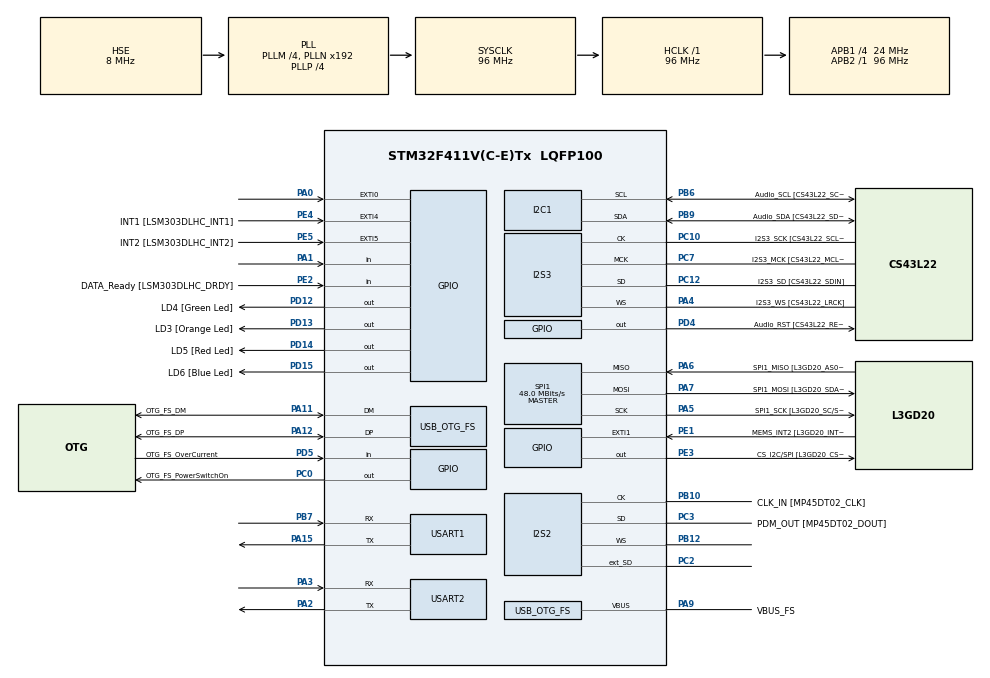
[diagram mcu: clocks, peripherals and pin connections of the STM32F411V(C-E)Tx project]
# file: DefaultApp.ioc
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FREERTOS.Tasks01=sensorTask,0,128,StartSensorTask,Default,NULL,Dynamic,NULL,NULL;CLITask,1,128,StartCLITask,Default,NULL,Dynamic,NULL,NULL;loggerTask,-1,128,StartLoggerTask,Default,NULL,Dynamic,NULL,NULL
FREERTOS.configUSE_NEWLIB_REENTRANT=1
I2S2.AudioFreq=I2S_AUDIOFREQ_96K
I2S2.ErrorAudioFreq=0.15 %
I2S2.FullDuplexMode=I2S_FULLDUPLEXMODE_ENABLE
I2S2.Instance=SPI$Index
I2S2.RealAudioFreq=96.153 KHz
I2S2.VirtualMode=I2S_MODE_MASTER
I2S3.AudioFreq=I2S_AUDIOFREQ_96K
I2S3.ErrorAudioFreq=-6.99 %
I2S3.FullDuplexMode=I2S_FULLDUPLEXMODE_DISABLE
I2S3.Instance=SPI$Index
I2S3.RealAudioFreq=89.285 KHz
I2S3.VirtualMode=I2S_MODE_MASTER
Mcu.Family=STM32F4
Mcu.Name=STM32F411V(C-E)Tx
Mcu.Package=LQFP100
NVIC.OTG_FS_IRQn=true\:5\:0\:false\:false\:true\:true\:true\:true\:true
NVIC.PriorityGroup=NVIC_PRIORITYGROUP_4
NVIC.TIM1_UP_TIM10_IRQn=true\:15\:0\:false\:false\:true\:false\:false\:true\:true
NVIC.TimeBase=TIM1_UP_TIM10_IRQn
NVIC.TimeBaseIP=TIM1
PA0-WKUP.GPIO_ModeDefaultEXTI=GPIO_MODE_EVT_RISING
PA0-WKUP.Signal=GPXTI0
PA1.Signal=GPIO_Input
PA10.GPIO_Label=OTG_FS_ID
PA10.Signal=USB_OTG_FS_ID
PA11.GPIO_Label=OTG_FS_DM
PA11.Mode=Host_Only
PA11.Signal=USB_OTG_FS_DM
PA12.GPIO_Label=OTG_FS_DP
PA12.Mode=Host_Only
PA12.Signal=USB_OTG_FS_DP
PA13.GPIO_Label=SWDIO
PA13.Mode=Serial_Wire
PA13.Signal=SYS_JTMS-SWDIO
PA14.GPIO_Label=SWCLK
PA14.Mode=Serial_Wire
PA14.Signal=SYS_JTCK-SWCLK
PA15.Mode=Asynchronous
PA15.Signal=USART1_TX
PA2.Mode=Asynchronous
PA2.Signal=USART2_TX
PA3.Mode=Asynchronous
PA3.Signal=USART2_RX
PA4.GPIO_Label=I2S3_WS [CS43L22_LRCK]
PA4.GPIO_Mode=GPIO_MODE_AF_PP
PA4.GPIO_PuPd=GPIO_NOPULL
PA4.GPIO_Speed=GPIO_SPEED_FREQ_LOW
PA4.Mode=Half_Duplex_Master
PA4.Signal=I2S3_WS
PA5.GPIO_Label=SPI1_SCK [L3GD20_SC/SPC]
PA5.Mode=Full_Duplex_Master
PA5.Signal=SPI1_SCK
PA6.GPIO_Label=SPI1_MISO [L3GD20_AS0/SDO]
PA6.Mode=Full_Duplex_Master
PA6.Signal=SPI1_MISO
PA7.GPIO_Label=SPI1_MOSI [L3GD20_SDA/SDI/SDO]
PA7.Mode=Full_Duplex_Master
PA7.Signal=SPI1_MOSI
PA9.GPIO_Label=VBUS_FS
PA9.Mode=Activate_VBUS
PA9.Signal=USB_OTG_FS_VBUS
PB10.GPIO_Label=CLK_IN [MP45DT02_CLK]
PB10.Mode=Full_Duplex_Master
PB10.Signal=I2S2_CK
PB12.Mode=Full_Duplex_Master
PB12.Signal=I2S2_WS
PB3.GPIO_Label=SWO
PB3.Signal=SYS_JTDO-SWO
PB6.GPIO_Label=Audio_SCL [CS43L22_SCL]
PB6.GPIO_Mode=GPIO_MODE_AF_OD
PB6.GPIO_Pu=GPIO_PULLUP
PB6.GPIO_PuPd=GPIO_NOPULL
PB6.GPIO_Speed=GPIO_SPEED_FREQ_LOW
PB6.Mode=I2C
PB6.Signal=I2C1_SCL
PB7.Mode=Asynchronous
PB7.Signal=USART1_RX
PB9.GPIO_Label=Audio_SDA [CS43L22_SDA]
PB9.GPIO_Mode=GPIO_MODE_AF_OD
PB9.GPIO_Pu=GPIO_PULLUP
PB9.GPIO_PuPd=GPIO_NOPULL
PB9.GPIO_Speed=GPIO_SPEED_FREQ_LOW
PB9.Mode=I2C
PB9.Signal=I2C1_SDA
PC0.GPIO_Label=OTG_FS_PowerSwitchOn
PC0.PinState=GPIO_PIN_SET
PC0.Signal=GPIO_Output
PC10.GPIO_Label=I2S3_SCK [CS43L22_SCLK]
PC10.GPIO_Mode=GPIO_MODE_AF_PP
PC10.GPIO_PuPd=GPIO_NOPULL
PC10.GPIO_Speed=GPIO_SPEED_FREQ_LOW
PC10.Mode=Half_Duplex_Master
PC10.Signal=I2S3_CK
PC12.GPIO_Label=I2S3_SD [CS43L22_SDIN]
PC12.GPIO_Mode=GPIO_MODE_AF_PP
PC12.GPIO_PuPd=GPIO_NOPULL
PC12.GPIO_Speed=GPIO_SPEED_FREQ_LOW
PC12.Mode=Half_Duplex_Master
PC12.Signal=I2S3_SD
PC14-OSC32_IN.GPIO_Label=PC14-OSC32_IN
PC14-OSC32_IN.Mode=LSE-External-Oscillator
PC14-OSC32_IN.Signal=RCC_OSC32_IN
PC15-OSC32_OUT.GPIO_Label=PC15-OSC32_OUT
PC15-OSC32_OUT.Mode=LSE-External-Oscillator
PC15-OSC32_OUT.Signal=RCC_OSC32_OUT
PC2.Mode=Full_Duplex_Master
PC2.Signal=I2S2_ext_SD
PC3.GPIO_Label=PDM_OUT [MP45DT02_DOUT]
PC3.Mode=Full_Duplex_Master
PC3.Signal=I2S2_SD
PC7.GPIO_Label=I2S3_MCK [CS43L22_MCLK]
PC7.GPIO_Mode=GPIO_MODE_AF_PP
PC7.GPIO_PuPd=GPIO_NOPULL
PC7.GPIO_Speed=GPIO_SPEED_FREQ_LOW
PC7.Mode=Master_Clock_Activated
PC7.Signal=I2S3_MCK
PD12.GPIO_Label=LD4 [Green Led]
PD12.GPIO_PuPd=GPIO_NOPULL
PD12.GPIO_Speed=GPIO_SPEED_FREQ_LOW
PD12.Signal=GPIO_Output
PD13.GPIO_Label=LD3 [Orange Led]
PD13.GPIO_PuPd=GPIO_NOPULL
PD13.GPIO_Speed=GPIO_SPEED_FREQ_LOW
PD13.Signal=GPIO_Output
PD14.GPIO_Label=LD5 [Red Led]
PD14.GPIO_PuPd=GPIO_NOPULL
PD14.GPIO_Speed=GPIO_SPEED_FREQ_LOW
PD14.Signal=GPIO_Output
PD15.GPIO_Label=LD6 [Blue Led]
PD15.GPIO_PuPd=GPIO_NOPULL
PD15.GPIO_Speed=GPIO_SPEED_FREQ_LOW
PD15.Signal=GPIO_Output
PD4.GPIO_Label=Audio_RST [CS43L22_RESET]
PD4.Signal=GPIO_Output
PD5.GPIO_Label=OTG_FS_OverCurrent
PD5.Signal=GPIO_Input
PE1.GPIO_Label=MEMS_INT2 [L3GD20_INT2]
PE1.GPIO_ModeDefaultEXTI=GPIO_MODE_EVT_RISING
PE1.Signal=GPXTI1
PE2.GPIO_Label=DATA_Ready [LSM303DLHC_DRDY]
PE2.Signal=GPIO_Input
PE3.GPIO_Label=CS_I2C/SPI [L3GD20_CS_I2C/SPI]
PE3.Signal=GPIO_Output
PE4.GPIO_Label=INT1 [LSM303DLHC_INT1]
PE4.GPIO_ModeDefaultEXTI=GPIO_MODE_EVT_RISING
PE4.Signal=GPXTI4
PE5.GPIO_Label=INT2 [LSM303DLHC_INT2]
PE5.GPIO_ModeDefaultEXTI=GPIO_MODE_EVT_RISING
PE5.Signal=GPXTI5
PH0\ -\ OSC_IN.GPIO_Label=PH0-OSC_IN
PH0\ -\ OSC_IN.Mode=HSE-External-Clock-Source
PH0\ -\ OSC_IN.Signal=RCC_OSC_IN
PH1\ -\ OSC_OUT.GPIO_Label=PH1-OSC_OUT
PH1\ -\ OSC_OUT.Mode=HSE-External-Clock-Source
PH1\ -\ OSC_OUT.Signal=RCC_OSC_OUT
ProjectManager.HeapSize=0x200
ProjectManager.StackSize=0x400
ProjectManager.TargetToolchain=STM32CubeIDE
RCC.48MHZClocksFreq_Value=48000000
RCC.AHBFreq_Value=96000000
RCC.APB1CLKDivider=RCC_HCLK_DIV4
RCC.APB1Freq_Value=24000000
RCC.APB1TimFreq_Value=48000000
RCC.APB2Freq_Value=96000000
RCC.APB2TimFreq_Value=96000000
RCC.CortexFreq_Value=96000000
RCC.HCLKFreq_Value=96000000
RCC.HSE_VALUE=8000000
RCC.HSI_VALUE=16000000
RCC.PLLI2SM=5
RCC.PLLI2SN=200
RCC.PLLM=4
RCC.PLLP=RCC_PLLP_DIV4
RCC.PLLQ=8
RCC.SYSCLKFreq_VALUE=96000000
RCC.SYSCLKSource=RCC_SYSCLKSOURCE_PLLCLK
RCC.VCOOutputFreq_Value=384000000
SPI1.BaudRatePrescaler=SPI_BAUDRATEPRESCALER_2
SPI1.CalculateBaudRate=48.0 MBits/s
SPI1.Direction=SPI_DIRECTION_2LINES
SPI1.Mode=SPI_MODE_MASTER
SPI1.VirtualType=VM_MASTER
USART1.VirtualMode=VM_ASYNC
USART2.VirtualMode=VM_ASYNC
USB_HOST.BSP.number=1
USB_HOST.USBH_HandleTypeDef=hUsbHostFS
USB_HOST.USBH_USE_OS-CDC_FS=0
USB_HOST.VirtualModeFS=Cdc
USB_HOST0.BSP.STBoard=false
USB_HOST0.BSP.api=Unknown
USB_HOST0.BSP.instance=PC0
USB_HOST0.BSP.ip=GPIO
USB_HOST0.BSP.mode=Output
USB_HOST0.BSP.name=Drive_VBUS_FS
USB_HOST0.BSP.solution=PC0
USB_OTG_FS.VirtualMode=Host_Only
USB_OTG_FS.phy_itface=HCD_PHY_EMBEDDED
VP_FREERTOS_VS_CMSIS_V1.Mode=CMSIS_V1
VP_SYS_VS_tim1.Mode=TIM1
VP_USB_HOST_VS_USB_HOST_CDC_FS.Mode=CDC_FS
board=STM32F411E-DISCO

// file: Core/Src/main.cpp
/* USER CODE BEGIN Header */
/**
  ******************************************************************************
  * @file           : main.c
  * @brief          : Main program body
  ******************************************************************************
  * @attention
  *
  * Copyright (c) 2025 STMicroelectronics.
  * All rights reserved.
  *
  * This software is licensed under terms that can be found in the LICENSE file
  * in the root directory of this software component.
  * If no LICENSE file comes with this software, it is provided AS-IS.
  *
  ******************************************************************************
  */
/* USER CODE END Header */
#include "main.h"
#include "cmsis_os.h"
#include "usb_host.h"
#include "application.hpp"

I2C_HandleTypeDef hi2c1;

I2S_HandleTypeDef hi2s2;
I2S_HandleTypeDef hi2s3;

SPI_HandleTypeDef hspi1;

UART_HandleTypeDef huart1;
UART_HandleTypeDef huart2;

//osThreadId sensorTaskHandle;
//osThreadId CLITaskHandle;
//osThreadId loggerTaskHandle;
/* USER CODE BEGIN PV */
// Global application instance
std::unique_ptr<Application> app;
/* USER CODE END PV */

void SystemClock_Config(void);
void PeriphCommonClock_Config(void);
static void MX_GPIO_Init(void);
static void MX_I2C1_Init(void);
static void MX_I2S2_Init(void);
static void MX_I2S3_Init(void);
static void MX_SPI1_Init(void);
static void MX_USART2_UART_Init(void);
static void MX_USART1_UART_Init(void);
//void StartSensorTask(void const * argument);
//void StartCLITask(void const * argument);
//void StartLoggerTask(void const * argument);

/* USER CODE BEGIN 0 */
extern "C" void vApplicationStackOverflowHook( osThreadId taskHandle, char *pcTaskName) {
    // Handle stack overflow
    while(1) {
        HAL_GPIO_TogglePin(GPIOC, GPIO_PIN_13); // Toggle LED
        HAL_Delay(100);
    }
}

//process : Allocating Dynamic memory in Freertos failure
extern "C" void vApplicationMallocFailedHook(void) {
    // Handle malloc failure
    while(1) {
        HAL_GPIO_TogglePin(GPIOC, GPIO_PIN_13);
        HAL_Delay(50);
    }
}

// UART interrupt callbacks
//automatically call when finish receive signal from uart
extern "C" void HAL_UART_RxCpltCallback(UART_HandleTypeDef *huart) {
    static uint8_t rxData[1];

    if (app) {
        app->handleUARTInterrupt(huart, rxData, 1);
    }

    // Continue receiving
    HAL_UART_Receive_IT(huart, rxData, 1);
}
/* USER CODE END 0 */

int main(void)
{

  /* MCU Configuration--------------------------------------------------------*/

  /* Reset of all peripherals, Initializes the Flash interface and the Systick. */
  HAL_Init();

  /* Configure the system clock */
  SystemClock_Config();

  /* Configure the peripherals common clocks */
  PeriphCommonClock_Config();

  /* Initialize all configured peripherals */
  MX_GPIO_Init();
  MX_I2C1_Init();
  MX_I2S2_Init();
  MX_I2S3_Init();
  MX_SPI1_Init();
  MX_USART2_UART_Init();
  MX_USART1_UART_Init();
  /* USER CODE BEGIN 2 */
  app = std::make_unique<Application>(&hspi1, &huart1, &huart2);// create a unique smart pointer

   // Initialize and start application
   app->init();
   app->run();

   uint8_t rxData[1];
   HAL_UART_Receive_IT(&huart2, rxData, 1);
  /* USER CODE END 2 */

  /* Create the thread(s) */
//   /* definition and creation of sensorTask */
//   osThreadDef(sensorTask, StartSensorTask, osPriorityNormal, 0, 128);
//   sensorTaskHandle = osThreadCreate(osThread(sensorTask), NULL);
//
//   /* definition and creation of CLITask */
//   osThreadDef(CLITask, StartCLITask, osPriorityAboveNormal, 0, 128);
//   CLITaskHandle = osThreadCreate(osThread(CLITask), NULL);
//
//   /* definition and creation of loggerTask */
//   osThreadDef(loggerTask, StartLoggerTask, osPriorityBelowNormal, 0, 128);
//   loggerTaskHandle = osThreadCreate(osThread(loggerTask), NULL);

  /* Start scheduler */
  osKernelStart();

  /* We should never get here as control is now taken by the scheduler */

  /* Infinite loop */
  while (1)
  {

  }
}

void SystemClock_Config(void)
{
  RCC_OscInitTypeDef RCC_OscInitStruct = {0};
  RCC_ClkInitTypeDef RCC_ClkInitStruct = {0};

  /** Configure the main internal regulator output voltage
  */
  __HAL_RCC_PWR_CLK_ENABLE();
  __HAL_PWR_VOLTAGESCALING_CONFIG(PWR_REGULATOR_VOLTAGE_SCALE1);

  /** Initializes the RCC Oscillators according to the specified parameters
  * in the RCC_OscInitTypeDef structure.
  */
  RCC_OscInitStruct.OscillatorType = RCC_OSCILLATORTYPE_HSE;
  RCC_OscInitStruct.HSEState = RCC_HSE_BYPASS;
  RCC_OscInitStruct.PLL.PLLState = RCC_PLL_ON;
  RCC_OscInitStruct.PLL.PLLSource = RCC_PLLSOURCE_HSE;
  RCC_OscInitStruct.PLL.PLLM = 4;
  RCC_OscInitStruct.PLL.PLLN = 192;
  RCC_OscInitStruct.PLL.PLLP = RCC_PLLP_DIV4;
  RCC_OscInitStruct.PLL.PLLQ = 8;
  if (HAL_RCC_OscConfig(&RCC_OscInitStruct) != HAL_OK)
  {
    Error_Handler();
  }

  /** Initializes the CPU, AHB and APB buses clocks
  */
  RCC_ClkInitStruct.ClockType = RCC_CLOCKTYPE_HCLK|RCC_CLOCKTYPE_SYSCLK
                              |RCC_CLOCKTYPE_PCLK1|RCC_CLOCKTYPE_PCLK2;
  RCC_ClkInitStruct.SYSCLKSource = RCC_SYSCLKSOURCE_PLLCLK;
  RCC_ClkInitStruct.AHBCLKDivider = RCC_SYSCLK_DIV1;
  RCC_ClkInitStruct.APB1CLKDivider = RCC_HCLK_DIV4;
  RCC_ClkInitStruct.APB2CLKDivider = RCC_HCLK_DIV1;

  if (HAL_RCC_ClockConfig(&RCC_ClkInitStruct, FLASH_LATENCY_3) != HAL_OK)
  {
    Error_Handler();
  }
}

void PeriphCommonClock_Config(void)
{
  RCC_PeriphCLKInitTypeDef PeriphClkInitStruct = {0};

  /** Initializes the peripherals clock
  */
  PeriphClkInitStruct.PeriphClockSelection = RCC_PERIPHCLK_I2S;
  PeriphClkInitStruct.PLLI2S.PLLI2SN = 200;
  PeriphClkInitStruct.PLLI2S.PLLI2SM = 5;
  PeriphClkInitStruct.PLLI2S.PLLI2SR = 2;
  if (HAL_RCCEx_PeriphCLKConfig(&PeriphClkInitStruct) != HAL_OK)
  {
    Error_Handler();
  }
}

static void MX_I2C1_Init(void)
{

  hi2c1.Instance = I2C1;
  hi2c1.Init.ClockSpeed = 100000;
  hi2c1.Init.DutyCycle = I2C_DUTYCYCLE_2;
  hi2c1.Init.OwnAddress1 = 0;
  hi2c1.Init.AddressingMode = I2C_ADDRESSINGMODE_7BIT;
  hi2c1.Init.DualAddressMode = I2C_DUALADDRESS_DISABLE;
  hi2c1.Init.OwnAddress2 = 0;
  hi2c1.Init.GeneralCallMode = I2C_GENERALCALL_DISABLE;
  hi2c1.Init.NoStretchMode = I2C_NOSTRETCH_DISABLE;
  if (HAL_I2C_Init(&hi2c1) != HAL_OK)
  {
    Error_Handler();
  }

}

static void MX_I2S2_Init(void)
{

  hi2s2.Instance = SPI2;
  hi2s2.Init.Mode = I2S_MODE_MASTER_TX;
  hi2s2.Init.Standard = I2S_STANDARD_PHILIPS;
  hi2s2.Init.DataFormat = I2S_DATAFORMAT_16B;
  hi2s2.Init.MCLKOutput = I2S_MCLKOUTPUT_DISABLE;
  hi2s2.Init.AudioFreq = I2S_AUDIOFREQ_96K;
  hi2s2.Init.CPOL = I2S_CPOL_LOW;
  hi2s2.Init.ClockSource = I2S_CLOCK_PLL;
  hi2s2.Init.FullDuplexMode = I2S_FULLDUPLEXMODE_ENABLE;
  if (HAL_I2S_Init(&hi2s2) != HAL_OK)
  {
    Error_Handler();
  }

}

static void MX_I2S3_Init(void)
{

  hi2s3.Instance = SPI3;
  hi2s3.Init.Mode = I2S_MODE_MASTER_TX;
  hi2s3.Init.Standard = I2S_STANDARD_PHILIPS;
  hi2s3.Init.DataFormat = I2S_DATAFORMAT_16B;
  hi2s3.Init.MCLKOutput = I2S_MCLKOUTPUT_ENABLE;
  hi2s3.Init.AudioFreq = I2S_AUDIOFREQ_96K;
  hi2s3.Init.CPOL = I2S_CPOL_LOW;
  hi2s3.Init.ClockSource = I2S_CLOCK_PLL;
  hi2s3.Init.FullDuplexMode = I2S_FULLDUPLEXMODE_DISABLE;
  if (HAL_I2S_Init(&hi2s3) != HAL_OK)
  {
    Error_Handler();
  }

}

static void MX_SPI1_Init(void)
{

  /* SPI1 parameter configuration*/
  hspi1.Instance = SPI1;
  hspi1.Init.Mode = SPI_MODE_MASTER;
  hspi1.Init.Direction = SPI_DIRECTION_2LINES;
  hspi1.Init.DataSize = SPI_DATASIZE_8BIT;
  hspi1.Init.CLKPolarity = SPI_POLARITY_LOW;
  hspi1.Init.CLKPhase = SPI_PHASE_1EDGE;
  hspi1.Init.NSS = SPI_NSS_SOFT;
  hspi1.Init.BaudRatePrescaler = SPI_BAUDRATEPRESCALER_2;
  hspi1.Init.FirstBit = SPI_FIRSTBIT_MSB;
  hspi1.Init.TIMode = SPI_TIMODE_DISABLE;
  hspi1.Init.CRCCalculation = SPI_CRCCALCULATION_DISABLE;
  hspi1.Init.CRCPolynomial = 10;
  if (HAL_SPI_Init(&hspi1) != HAL_OK)
  {
    Error_Handler();
  }

}

static void MX_USART1_UART_Init(void)
{

  huart1.Instance = USART1;
  huart1.Init.BaudRate = 115200;
  huart1.Init.WordLength = UART_WORDLENGTH_8B;
  huart1.Init.StopBits = UART_STOPBITS_1;
  huart1.Init.Parity = UART_PARITY_NONE;
  huart1.Init.Mode = UART_MODE_TX_RX;
  huart1.Init.HwFlowCtl = UART_HWCONTROL_NONE;
  huart1.Init.OverSampling = UART_OVERSAMPLING_16;
  if (HAL_UART_Init(&huart1) != HAL_OK)
  {
    Error_Handler();
  }

}

static void MX_USART2_UART_Init(void)
{

  huart2.Instance = USART2;
  huart2.Init.BaudRate = 115200;
  huart2.Init.WordLength = UART_WORDLENGTH_8B;
  huart2.Init.StopBits = UART_STOPBITS_1;
  huart2.Init.Parity = UART_PARITY_NONE;
  huart2.Init.Mode = UART_MODE_TX_RX;
  huart2.Init.HwFlowCtl = UART_HWCONTROL_NONE;
  huart2.Init.OverSampling = UART_OVERSAMPLING_16;
  if (HAL_UART_Init(&huart2) != HAL_OK)
  {
    Error_Handler();
  }

}

static void MX_GPIO_Init(void)
{
  GPIO_InitTypeDef GPIO_InitStruct = {0};

  /* GPIO Ports Clock Enable */
  __HAL_RCC_GPIOE_CLK_ENABLE();
  __HAL_RCC_GPIOC_CLK_ENABLE();
  __HAL_RCC_GPIOH_CLK_ENABLE();
  __HAL_RCC_GPIOA_CLK_ENABLE();
  __HAL_RCC_GPIOB_CLK_ENABLE();
  __HAL_RCC_GPIOD_CLK_ENABLE();

  /*Configure GPIO pin Output Level */
  HAL_GPIO_WritePin(CS_I2C_SPI_GPIO_Port, CS_I2C_SPI_Pin, GPIO_PIN_RESET);

  /*Configure GPIO pin Output Level */
  HAL_GPIO_WritePin(OTG_FS_PowerSwitchOn_GPIO_Port, OTG_FS_PowerSwitchOn_Pin, GPIO_PIN_SET);

  /*Configure GPIO pin Output Level */
  HAL_GPIO_WritePin(GPIOD, LD4_Pin|LD3_Pin|LD5_Pin|LD6_Pin
                          |Audio_RST_Pin, GPIO_PIN_RESET);

  /*Configure GPIO pin : DATA_Ready_Pin */
  GPIO_InitStruct.Pin = DATA_Ready_Pin;
  GPIO_InitStruct.Mode = GPIO_MODE_INPUT;
  GPIO_InitStruct.Pull = GPIO_NOPULL;
  HAL_GPIO_Init(DATA_Ready_GPIO_Port, &GPIO_InitStruct);

  /*Configure GPIO pin : CS_I2C_SPI_Pin */
  GPIO_InitStruct.Pin = CS_I2C_SPI_Pin;
  GPIO_InitStruct.Mode = GPIO_MODE_OUTPUT_PP;
  GPIO_InitStruct.Pull = GPIO_NOPULL;
  GPIO_InitStruct.Speed = GPIO_SPEED_FREQ_LOW;
  HAL_GPIO_Init(CS_I2C_SPI_GPIO_Port, &GPIO_InitStruct);

  /*Configure GPIO pins : INT1_Pin INT2_Pin MEMS_INT2_Pin */
  GPIO_InitStruct.Pin = INT1_Pin|INT2_Pin|MEMS_INT2_Pin;
  GPIO_InitStruct.Mode = GPIO_MODE_EVT_RISING;
  GPIO_InitStruct.Pull = GPIO_NOPULL;
  HAL_GPIO_Init(GPIOE, &GPIO_InitStruct);

  /*Configure GPIO pin : OTG_FS_PowerSwitchOn_Pin */
  GPIO_InitStruct.Pin = OTG_FS_PowerSwitchOn_Pin;
  GPIO_InitStruct.Mode = GPIO_MODE_OUTPUT_PP;
  GPIO_InitStruct.Pull = GPIO_NOPULL;
  GPIO_InitStruct.Speed = GPIO_SPEED_FREQ_LOW;
  HAL_GPIO_Init(OTG_FS_PowerSwitchOn_GPIO_Port, &GPIO_InitStruct);

  /*Configure GPIO pin : PA0 */
  GPIO_InitStruct.Pin = GPIO_PIN_0;
  GPIO_InitStruct.Mode = GPIO_MODE_EVT_RISING;
  GPIO_InitStruct.Pull = GPIO_NOPULL;
  HAL_GPIO_Init(GPIOA, &GPIO_InitStruct);

  /*Configure GPIO pin : PA1 */
  GPIO_InitStruct.Pin = GPIO_PIN_1;
  GPIO_InitStruct.Mode = GPIO_MODE_INPUT;
  GPIO_InitStruct.Pull = GPIO_NOPULL;
  HAL_GPIO_Init(GPIOA, &GPIO_InitStruct);

  /*Configure GPIO pins : LD4_Pin LD3_Pin LD5_Pin LD6_Pin
                           Audio_RST_Pin */
  GPIO_InitStruct.Pin = LD4_Pin|LD3_Pin|LD5_Pin|LD6_Pin
                          |Audio_RST_Pin;
  GPIO_InitStruct.Mode = GPIO_MODE_OUTPUT_PP;
  GPIO_InitStruct.Pull = GPIO_NOPULL;
  GPIO_InitStruct.Speed = GPIO_SPEED_FREQ_LOW;
  HAL_GPIO_Init(GPIOD, &GPIO_InitStruct);

  /*Configure GPIO pin : OTG_FS_OverCurrent_Pin */
  GPIO_InitStruct.Pin = OTG_FS_OverCurrent_Pin;
  GPIO_InitStruct.Mode = GPIO_MODE_INPUT;
  GPIO_InitStruct.Pull = GPIO_NOPULL;
  HAL_GPIO_Init(OTG_FS_OverCurrent_GPIO_Port, &GPIO_InitStruct);

}

//void StartSensorTask(void const * argument)
//{
//  /* init code for USB_HOST */
//  MX_USB_HOST_Init();
//  /* USER CODE BEGIN 5 */
//  /* Infinite loop */
//  for(;;)
//  {
//    osDelay(1);
//  }
//  /* USER CODE END 5 */
//}

//void StartCLITask(void const * argument)
//{
//  /* USER CODE BEGIN StartCLITask */
//  /* Infinite loop */
//  for(;;)
//  {
//    osDelay(1);
//  }
//  /* USER CODE END StartCLITask */
//}

//void StartLoggerTask(void const * argument)
//{
//  /* USER CODE BEGIN StartLoggerTask */
//  /* Infinite loop */
//  for(;;)
//  {
//    osDelay(1);
//  }
//  /* USER CODE END StartLoggerTask */
//}

void HAL_TIM_PeriodElapsedCallback(TIM_HandleTypeDef *htim)
{
  if (htim->Instance == TIM1)
  {
    HAL_IncTick();
  }
}

void Error_Handler(void)
{
  __disable_irq();
  while (1)
  {
  }
}
